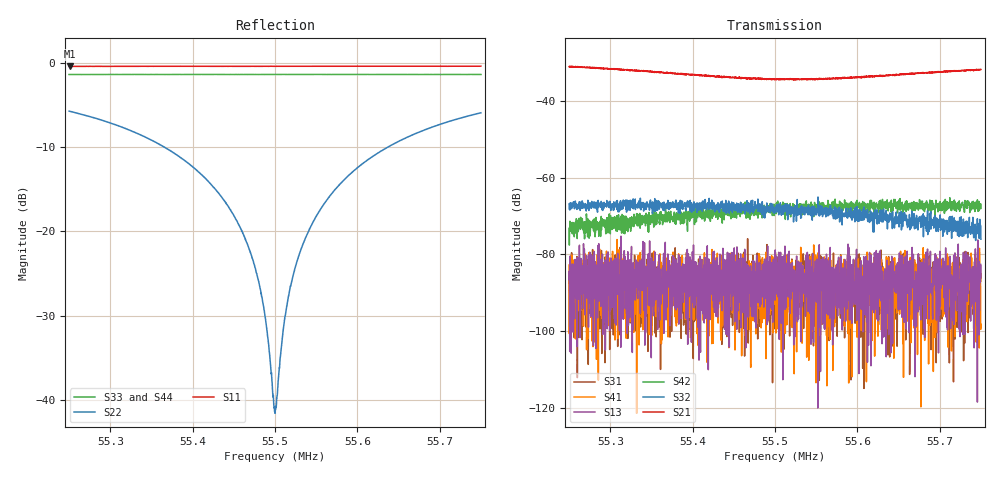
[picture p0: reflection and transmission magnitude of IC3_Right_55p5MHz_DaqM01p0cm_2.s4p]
#  HZ  S  DB  R  50.00
! Rohde & Schwarz Vector Network Analyzer
! Rohde-Schwarz,ZNB8-4Port,1311601044102961,2.82
! Created: UTC 2/13/2019, 11:57:27 AM
! freq[Hz]  db:S11  ang:S11  db:S12  ang:S12  db:S13  ang:S13  db:S14  ang:S14
!  db:S21  ang:S21  db:S22  ang:S22  db:S23  ang:S23  db:S24  ang:S24
!  db:S31  ang:S31  db:S32  ang:S32  db:S33  ang:S33  db:S34  ang:S34
!  db:S41  ang:S41  db:S42  ang:S42  db:S43  ang:S43  db:S44  ang:S44
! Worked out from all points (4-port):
!   2001 points, 55.25 MHz to 55.75 MHz, reference 50 ohm
!   strongest paths, dB at 55.25 MHz, 55.375 MHz, 55.5 MHz, 55.625 MHz, 55.75 MHz:
!     S21: -31.1, -32.8, -34.5, -33.6, -31.9
!     S32: -66.9, -67.0, -68.4, -70.4, -76.1
!     S42: -73.2, -70.3, -67.6, -67.0, -66.9
!     S13: -86.5, -82.4, -91.9, -97.3, -85.9
!     S41: -82.8, -89.1, -84.6, -101.3, -98.2
!     S31: -86.9, -80.6, -91.2, -91.7, -85.1
!   lowest |S11| = -0.5 dB at 55.2505 MHz (marker M1), VSWR 38.19, Z = 2.32 + j43.8 ohm
!   |S11| at or under -10 dB: nowhere
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5.525e7  -0.45 97.5  -31.11 69.6  -86.54 114.8  -85.98 48.5
         -31.12 70.3  -5.74 -164.4  -67.45 178.9  -75.81 4.9
         -86.93 -65.9  -66.86 -174.9  -1.41 24.8  -90.41 120.6
         -82.77 -174.0  -73.20 -15.1  -101.87 -53.0  -1.43 31.2
5.52505e7  -0.45 97.5  -31.00 69.0  -88.06 -4.2  -85.78 15.8
           -31.09 69.0  -5.76 -164.5  -66.14 -166.5  -73.39 -14.5
           -89.68 -63.5  -68.34 177.3  -1.41 24.7  -91.97 -111.9
           -88.17 -87.1  -74.17 -10.3  -93.83 137.6  -1.43 31.2
5.544025e7  -0.44 93.9  -33.71 69.8  -95.59 130.2  -81.72 134.6
            -33.86 71.2  -16.62 155.9  -66.71 157.3  -69.46 -60.7
            -90.84 68.6  -65.96 147.0  -1.41 22.4  -84.46 130.7
            -90.92 164.4  -68.44 -54.0  -90.74 9.0  -1.42 28.9
5.550025e7  -0.44 92.8  -34.28 76.6  -78.84 31.0  -94.49 -92.4
            -34.45 75.8  -41.13 56.4  -69.42 152.7  -68.97 -55.5
            -89.43 -45.9  -68.10 144.3  -1.40 21.6  -86.58 133.7
            -84.20 -44.8  -68.28 -65.4  -82.49 29.3  -1.42 28.2
5.552125e7  -0.43 92.4  -34.41 78.0  -85.15 -53.2  -89.59 -141.1
            -34.43 78.5  -25.53 -29.1  -68.80 133.9  -66.92 -67.3
            -84.10 133.1  -68.87 133.1  -1.40 21.3  -85.72 42.7
            -83.10 126.3  -67.55 -65.1  -86.44 46.0  -1.42 27.9
5.556025e7  -0.43 91.7  -34.27 83.1  -89.18 73.7  -103.28 -3.8
            -34.36 82.6  -16.66 -43.8  -69.70 139.5  -67.37 -74.8
            -98.84 -3.9  -69.33 138.9  -1.41 20.8  -89.81 148.1
            -88.74 -121.6  -67.27 -74.4  -87.21 -5.4  -1.42 27.4
5.575e7  -0.42 88.2  -31.94 89.1  -85.93 46.2  -89.10 161.4
         -31.86 88.7  -5.94 -83.1  -71.04 106.2  -67.20 -103.9
         -85.12 139.5  -76.06 104.7  -1.40 18.5  -85.43 -153.2
         -98.23 3.6  -66.94 -101.0  -85.83 -51.5  -1.42 25.0
